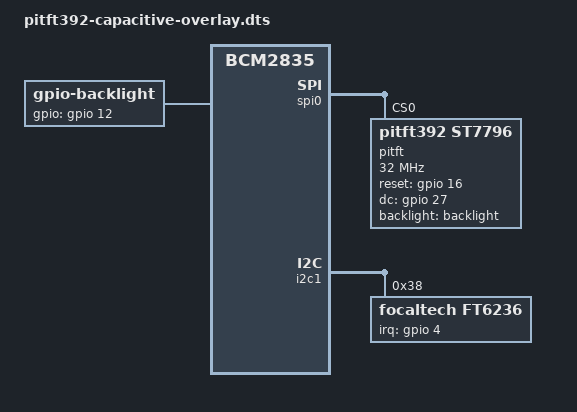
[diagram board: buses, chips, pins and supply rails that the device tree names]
/*
 * Device Tree overlay for Coligo+ PiTFT 3.92" capacitive touch screen
 *
 */

/dts-v1/;
/plugin/;

/ {
	compatible = "brcm,bcm2835";

	fragment@0 {
		target = <&spi0>;
		__overlay__ {
			status = "okay";
		};
	};

	fragment@1 {
		target = <&spidev0>;
		__overlay__ {
			status = "disabled";
		};
	};

	fragment@2 {
		target = <&gpio>;
		__overlay__ {
			pitft_pins: pitft_pins {
				brcm,pins = <4 12 16 27>;
				brcm,function = <0 1 1 1>; /* in out out out */
				brcm,pull = <2 0 0 0>; /* pullup none */
			};
		};
	};

	fragment@3 {
		target = <&spi0>;
		__overlay__ {
			/* needed to avoid dtc warning */
			#address-cells = <1>;
			#size-cells = <0>;

			pitft: pitft@0{
				/* IPS 3.92" 320x320 */
				compatible = "pitft392,st7796";
				reg = <0>;
				pinctrl-names = "default";
				pinctrl-0 = <&pitft_pins>;

				spi-max-frequency = <32000000>;
				rotation = <0>;
				fps = <25>;
				bgr;
				buswidth = <8>;
				reset-gpios = <&gpio 16 0>;
				dc-gpios = <&gpio 27 0>;
				backlight = <&backlight>;
				debug = <0>;
			};
		};
	};

	fragment@4 {
		target = <&i2c1>;
		__overlay__ {
			/* needed to avoid dtc warning */
			#address-cells = <1>;
			#size-cells = <0>;

			ft6236: ft6236@38 {
				compatible = "focaltech,ft6236";
				reg = <0x38>;

				interrupt-parent = <&gpio>;
				interrupts = <4 2>;
				touchscreen-size-x = <320>;
				touchscreen-size-y = <320>;
			};
		};
	};

	fragment@5 {
		target-path = "/soc";
		__overlay__ {
			backlight: backlight {
				compatible = "gpio-backlight";
				gpios = <&gpio 12 0>;
			};
		};
	};
		
	__overrides__ {
		speed =   <&pitft>,"spi-max-frequency:0";
		rotation =  <&pitft>,"rotation:0";
		fps =     <&pitft>,"fps:0";
		debug =   <&pitft>,"debug:0";
		touch-sizex = <&ft6236>,"touchscreen-size-x?";
		touch-sizey = <&ft6236>,"touchscreen-size-y?";
		touch-invx  = <&ft6236>,"touchscreen-inverted-x?";
		touch-invy  = <&ft6236>,"touchscreen-inverted-y?";
		touch-swapxy = <&ft6236>,"touchscreen-swapped-x-y?";
	};
};
